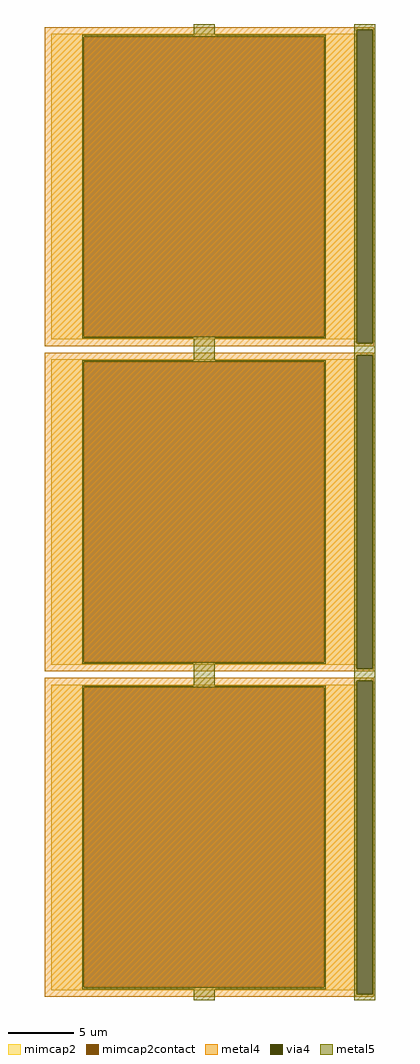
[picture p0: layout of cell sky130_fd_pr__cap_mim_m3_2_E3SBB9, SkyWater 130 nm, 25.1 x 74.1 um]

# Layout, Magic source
magic
tech sky130A
magscale 1 2
<< metal4 >>
rect -2499 7319 2499 7360
rect -2499 2561 2243 7319
rect 2479 2561 2499 7319
rect -2499 2520 2499 2561
rect -2499 2379 2499 2420
rect -2499 -2379 2243 2379
rect 2479 -2379 2499 2379
rect -2499 -2420 2499 -2379
rect -2499 -2561 2499 -2520
rect -2499 -7319 2243 -2561
rect 2479 -7319 2499 -2561
rect -2499 -7360 2499 -7319
<< via4 >>
rect 2243 2561 2479 7319
rect 2243 -2379 2479 2379
rect 2243 -7319 2479 -2561
<< mimcap2 >>
rect -2399 7220 2241 7260
rect -2399 2660 -1903 7220
rect 1745 2660 2241 7220
rect -2399 2620 2241 2660
rect -2399 2280 2241 2320
rect -2399 -2280 -1903 2280
rect 1745 -2280 2241 2280
rect -2399 -2320 2241 -2280
rect -2399 -2660 2241 -2620
rect -2399 -7220 -1903 -2660
rect 1745 -7220 2241 -2660
rect -2399 -7260 2241 -7220
<< mimcap2contact >>
rect -1903 2660 1745 7220
rect -1903 -2280 1745 2280
rect -1903 -7220 1745 -2660
<< metal5 >>
rect -239 7244 81 7410
rect 2201 7319 2521 7410
rect -1927 7220 1769 7244
rect -1927 2660 -1903 7220
rect 1745 2660 1769 7220
rect -1927 2636 1769 2660
rect -239 2304 81 2636
rect 2201 2561 2243 7319
rect 2479 2561 2521 7319
rect 2201 2379 2521 2561
rect -1927 2280 1769 2304
rect -1927 -2280 -1903 2280
rect 1745 -2280 1769 2280
rect -1927 -2304 1769 -2280
rect -239 -2636 81 -2304
rect 2201 -2379 2243 2379
rect 2479 -2379 2521 2379
rect 2201 -2561 2521 -2379
rect -1927 -2660 1769 -2636
rect -1927 -7220 -1903 -2660
rect 1745 -7220 1769 -2660
rect -1927 -7244 1769 -7220
rect -239 -7410 81 -7244
rect 2201 -7319 2243 -2561
rect 2479 -7319 2521 -2561
rect 2201 -7410 2521 -7319
<< properties >>
string gencell sky130_fd_pr__cap_mim_m3_2
string FIXED_BBOX -2499 2520 2341 7360
string parameters w 23.2 l 23.2 val 1.094k carea 2.00 cperi 0.19 nx 1 ny 3 dummy 0 square 0 lmin 2.00 wmin 2.00 lmax 30.0 wmax 30.0 dc 0 bconnect 1 tconnect 1 ccov 80
string library sky130
<< end >>
